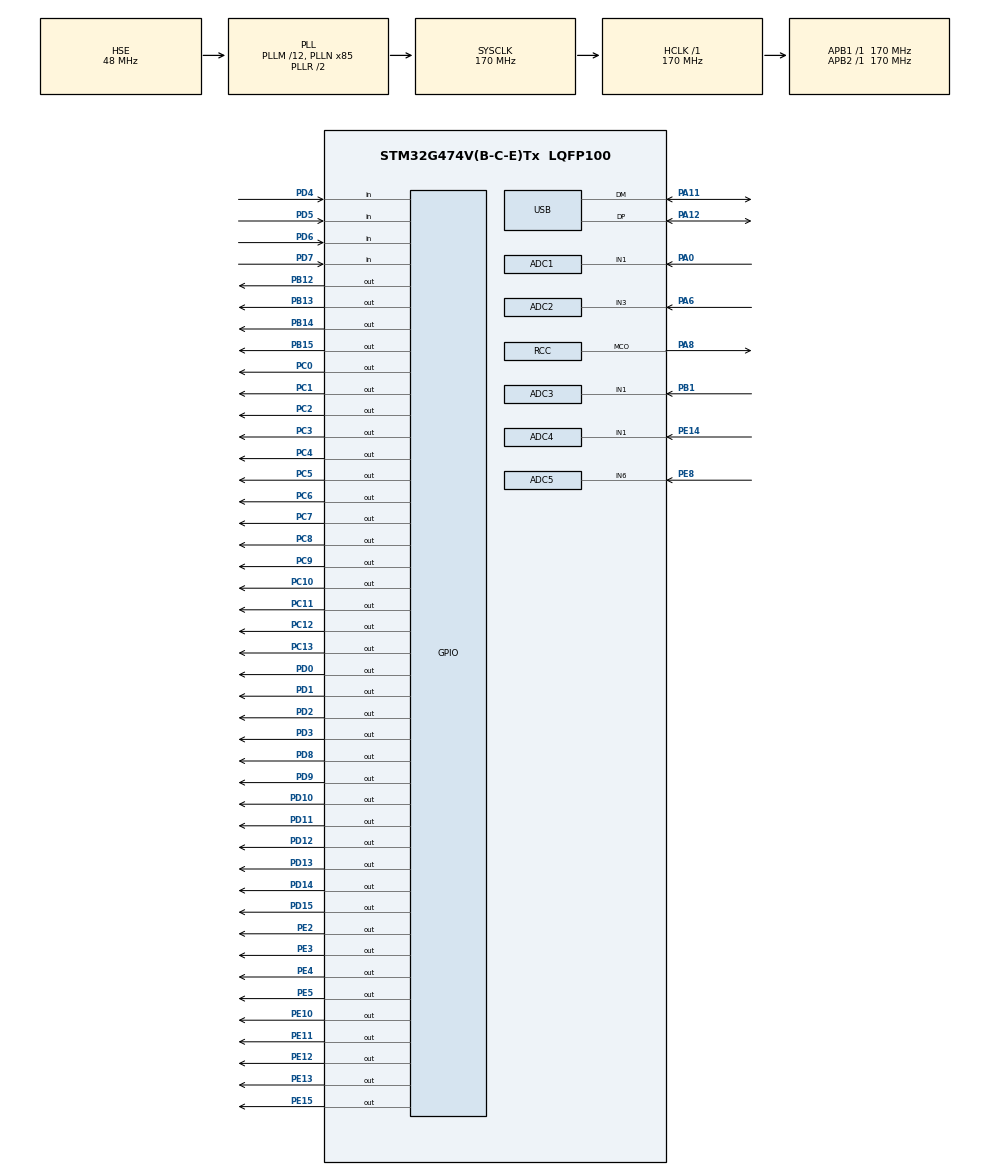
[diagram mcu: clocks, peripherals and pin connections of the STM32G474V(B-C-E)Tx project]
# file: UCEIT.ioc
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ADC1.Channel-1\#ChannelRegularConversion=ADC_CHANNEL_1
ADC1.DMAContinuousRequests=ENABLE
ADC1.ExternalTrigConv=ADC_EXTERNALTRIG_HRTIM_TRG1
ADC1.NbrOfConversionFlag=1
ADC1.OffsetNumber-1\#ChannelRegularConversion=ADC_OFFSET_NONE
ADC1.Rank-1\#ChannelRegularConversion=1
ADC1.SamplingTime-1\#ChannelRegularConversion=ADC_SAMPLETIME_2CYCLES_5
ADC1.master=1
ADC2.Channel-0\#ChannelRegularConversion=ADC_CHANNEL_3
ADC2.DMAContinuousRequests=ENABLE
ADC2.ExternalTrigConv=ADC_EXTERNALTRIG_HRTIM_TRG1
ADC2.ExternalTrigConvEdge=ADC_EXTERNALTRIGCONVEDGE_RISINGFALLING
ADC2.NbrOfConversionFlag=1
ADC2.OffsetNumber-0\#ChannelRegularConversion=ADC_OFFSET_NONE
ADC2.Rank-0\#ChannelRegularConversion=1
ADC2.SamplingTime-0\#ChannelRegularConversion=ADC_SAMPLETIME_2CYCLES_5
ADC3.Channel-0\#ChannelRegularConversion=ADC_CHANNEL_1
ADC3.DMAContinuousRequests=ENABLE
ADC3.ExternalTrigConv=ADC_EXTERNALTRIG_HRTIM_TRG1
ADC3.ExternalTrigConvEdge=ADC_EXTERNALTRIGCONVEDGE_RISINGFALLING
ADC3.NbrOfConversionFlag=1
ADC3.OffsetNumber-0\#ChannelRegularConversion=ADC_OFFSET_NONE
ADC3.Rank-0\#ChannelRegularConversion=1
ADC3.SamplingTime-0\#ChannelRegularConversion=ADC_SAMPLETIME_2CYCLES_5
ADC3.master=1
ADC4.Channel-0\#ChannelRegularConversion=ADC_CHANNEL_1
ADC4.DMAContinuousRequests=ENABLE
ADC4.ExternalTrigConv=ADC_EXTERNALTRIG_HRTIM_TRG1
ADC4.ExternalTrigConvEdge=ADC_EXTERNALTRIGCONVEDGE_RISINGFALLING
ADC4.NbrOfConversionFlag=1
ADC4.OffsetNumber-0\#ChannelRegularConversion=ADC_OFFSET_NONE
ADC4.Rank-0\#ChannelRegularConversion=1
ADC4.SamplingTime-0\#ChannelRegularConversion=ADC_SAMPLETIME_2CYCLES_5
ADC5.Channel-0\#ChannelRegularConversion=ADC_CHANNEL_6
ADC5.DMAContinuousRequests=ENABLE
ADC5.ExternalTrigConv=ADC_EXTERNALTRIG_HRTIM_TRG1
ADC5.ExternalTrigConvEdge=ADC_EXTERNALTRIGCONVEDGE_RISINGFALLING
ADC5.NbrOfConversionFlag=1
ADC5.OffsetNumber-0\#ChannelRegularConversion=ADC_OFFSET_NONE
ADC5.Rank-0\#ChannelRegularConversion=1
ADC5.SamplingTime-0\#ChannelRegularConversion=ADC_SAMPLETIME_2CYCLES_5
ARM.CMSIS.5.8.0.CMSISJjCORE=true
ARM.CMSIS.5.8.0.CMSISJjDSP=Source
Dma.ADC1.0.Direction=DMA_PERIPH_TO_MEMORY
Dma.ADC1.0.EventEnable=DISABLE
Dma.ADC1.0.Instance=DMA1_Channel1
Dma.ADC1.0.MemDataAlignment=DMA_MDATAALIGN_HALFWORD
Dma.ADC1.0.MemInc=DMA_MINC_ENABLE
Dma.ADC1.0.Mode=DMA_CIRCULAR
Dma.ADC1.0.PeriphDataAlignment=DMA_PDATAALIGN_HALFWORD
Dma.ADC1.0.PeriphInc=DMA_PINC_DISABLE
Dma.ADC1.0.Polarity=HAL_DMAMUX_REQ_GEN_RISING
Dma.ADC1.0.Priority=DMA_PRIORITY_LOW
Dma.ADC1.0.RequestNumber=1
Dma.ADC1.0.SignalID=NONE
Dma.ADC1.0.SyncEnable=DISABLE
Dma.ADC1.0.SyncPolarity=HAL_DMAMUX_SYNC_NO_EVENT
Dma.ADC1.0.SyncRequestNumber=1
Dma.ADC1.0.SyncSignalID=NONE
Dma.ADC2.1.Direction=DMA_PERIPH_TO_MEMORY
Dma.ADC2.1.EventEnable=DISABLE
Dma.ADC2.1.Instance=DMA1_Channel2
Dma.ADC2.1.MemDataAlignment=DMA_MDATAALIGN_HALFWORD
Dma.ADC2.1.MemInc=DMA_MINC_ENABLE
Dma.ADC2.1.Mode=DMA_CIRCULAR
Dma.ADC2.1.PeriphDataAlignment=DMA_PDATAALIGN_HALFWORD
Dma.ADC2.1.PeriphInc=DMA_PINC_DISABLE
Dma.ADC2.1.Polarity=HAL_DMAMUX_REQ_GEN_RISING
Dma.ADC2.1.Priority=DMA_PRIORITY_LOW
Dma.ADC2.1.RequestNumber=1
Dma.ADC2.1.SignalID=NONE
Dma.ADC2.1.SyncEnable=DISABLE
Dma.ADC2.1.SyncPolarity=HAL_DMAMUX_SYNC_NO_EVENT
Dma.ADC2.1.SyncRequestNumber=1
Dma.ADC2.1.SyncSignalID=NONE
Dma.ADC3.2.Direction=DMA_PERIPH_TO_MEMORY
Dma.ADC3.2.EventEnable=DISABLE
Dma.ADC3.2.Instance=DMA1_Channel3
Dma.ADC3.2.MemDataAlignment=DMA_MDATAALIGN_HALFWORD
Dma.ADC3.2.MemInc=DMA_MINC_ENABLE
Dma.ADC3.2.Mode=DMA_CIRCULAR
Dma.ADC3.2.PeriphDataAlignment=DMA_PDATAALIGN_HALFWORD
Dma.ADC3.2.PeriphInc=DMA_PINC_DISABLE
Dma.ADC3.2.Polarity=HAL_DMAMUX_REQ_GEN_RISING
Dma.ADC3.2.Priority=DMA_PRIORITY_LOW
Dma.ADC3.2.RequestNumber=1
Dma.ADC3.2.SignalID=NONE
Dma.ADC3.2.SyncEnable=DISABLE
Dma.ADC3.2.SyncPolarity=HAL_DMAMUX_SYNC_NO_EVENT
Dma.ADC3.2.SyncRequestNumber=1
Dma.ADC3.2.SyncSignalID=NONE
Dma.ADC4.3.Direction=DMA_PERIPH_TO_MEMORY
Dma.ADC4.3.EventEnable=DISABLE
Dma.ADC4.3.Instance=DMA1_Channel4
Dma.ADC4.3.MemDataAlignment=DMA_MDATAALIGN_HALFWORD
Dma.ADC4.3.MemInc=DMA_MINC_ENABLE
Dma.ADC4.3.Mode=DMA_CIRCULAR
Dma.ADC4.3.PeriphDataAlignment=DMA_PDATAALIGN_HALFWORD
Dma.ADC4.3.PeriphInc=DMA_PINC_DISABLE
Dma.ADC4.3.Polarity=HAL_DMAMUX_REQ_GEN_RISING
Dma.ADC4.3.Priority=DMA_PRIORITY_LOW
Dma.ADC4.3.RequestNumber=1
Dma.ADC4.3.SignalID=NONE
Dma.ADC4.3.SyncEnable=DISABLE
Dma.ADC4.3.SyncPolarity=HAL_DMAMUX_SYNC_NO_EVENT
Dma.ADC4.3.SyncRequestNumber=1
Dma.ADC4.3.SyncSignalID=NONE
Dma.ADC5.4.Direction=DMA_PERIPH_TO_MEMORY
Dma.ADC5.4.EventEnable=DISABLE
Dma.ADC5.4.Instance=DMA1_Channel5
Dma.ADC5.4.MemDataAlignment=DMA_MDATAALIGN_HALFWORD
Dma.ADC5.4.MemInc=DMA_MINC_ENABLE
Dma.ADC5.4.Mode=DMA_CIRCULAR
Dma.ADC5.4.PeriphDataAlignment=DMA_PDATAALIGN_HALFWORD
Dma.ADC5.4.PeriphInc=DMA_PINC_DISABLE
Dma.ADC5.4.Polarity=HAL_DMAMUX_REQ_GEN_RISING
Dma.ADC5.4.Priority=DMA_PRIORITY_LOW
Dma.ADC5.4.RequestNumber=1
Dma.ADC5.4.SignalID=NONE
Dma.ADC5.4.SyncEnable=DISABLE
Dma.ADC5.4.SyncPolarity=HAL_DMAMUX_SYNC_NO_EVENT
Dma.ADC5.4.SyncRequestNumber=1
Dma.ADC5.4.SyncSignalID=NONE
Dma.HRTIM1_A.5.Direction=DMA_MEMORY_TO_PERIPH
Dma.HRTIM1_A.5.EventEnable=DISABLE
Dma.HRTIM1_A.5.Instance=DMA2_Channel1
Dma.HRTIM1_A.5.MemDataAlignment=DMA_MDATAALIGN_WORD
Dma.HRTIM1_A.5.MemInc=DMA_MINC_ENABLE
Dma.HRTIM1_A.5.Mode=DMA_CIRCULAR
Dma.HRTIM1_A.5.PeriphDataAlignment=DMA_PDATAALIGN_WORD
Dma.HRTIM1_A.5.PeriphInc=DMA_PINC_DISABLE
Dma.HRTIM1_A.5.Polarity=HAL_DMAMUX_REQ_GEN_RISING
Dma.HRTIM1_A.5.Priority=DMA_PRIORITY_LOW
Dma.HRTIM1_A.5.RequestNumber=1
Dma.HRTIM1_A.5.SignalID=NONE
Dma.HRTIM1_A.5.SyncEnable=DISABLE
Dma.HRTIM1_A.5.SyncPolarity=HAL_DMAMUX_SYNC_NO_EVENT
Dma.HRTIM1_A.5.SyncRequestNumber=1
Dma.HRTIM1_A.5.SyncSignalID=NONE
Dma.Request0=ADC1
Dma.Request1=ADC2
Dma.Request2=ADC3
Dma.Request3=ADC4
Dma.Request4=ADC5
Dma.Request5=HRTIM1_A
HRTIM1.ADCTrigger1_Source1=HRTIM_ADCTRIGGEREVENT13_TIMERB_PERIOD
HRTIM1.ADCTrigger_Id1=HRTIM_ADCTRIGGER_1
HRTIM1.Configuration_TA=Simple
HRTIM1.Configuration_TB=Simple
HRTIM1.Event_EEV1=__NULL
HRTIM1.NumberADCTriggerSource1=1
HRTIM1.ORingUpdateSource_ADCTrigger1=HRTIM_ADCTRIGGERUPDATE_TIMER_B
HRTIM1.Periode_TA=0x0060
HRTIM1.Periode_TB=0xAF80
HRTIM1.PrescalerRatio_TA=HRTIM_PRESCALERRATIO_MUL32
HRTIM1.PrescalerRatio_TB=HRTIM_PRESCALERRATIO_MUL32
Mcu.Family=STM32G4
Mcu.Name=STM32G474V(B-C-E)Tx
Mcu.Package=LQFP100
NVIC.DMA1_Channel1_IRQn=true\:1\:0\:true\:false\:true\:false\:true\:true
NVIC.DMA1_Channel2_IRQn=true\:1\:0\:true\:false\:true\:false\:true\:true
NVIC.DMA1_Channel3_IRQn=true\:1\:0\:true\:false\:true\:false\:true\:true
NVIC.DMA1_Channel4_IRQn=true\:1\:0\:true\:false\:true\:false\:true\:true
NVIC.DMA1_Channel5_IRQn=true\:1\:0\:true\:false\:true\:false\:true\:true
NVIC.DMA2_Channel1_IRQn=true\:0\:0\:false\:false\:true\:false\:true\:true
NVIC.PriorityGroup=NVIC_PRIORITYGROUP_4
NVIC.TIM2_IRQn=true\:0\:0\:false\:false\:true\:true\:true\:true
NVIC.USB_LP_IRQn=true\:0\:0\:false\:false\:true\:false\:true\:true
PA0.Mode=IN1-Single-Ended
PA0.Signal=ADC1_IN1
PA11.Mode=Device
PA11.Signal=USB_DM
PA12.Mode=Device
PA12.Signal=USB_DP
PA13.Mode=Serial_Wire
PA13.Signal=SYS_JTMS-SWDIO
PA14.Mode=Serial_Wire
PA14.Signal=SYS_JTCK-SWCLK
PA6.Mode=IN3-Single-Ended
PA6.Signal=ADC2_IN3
PA8.GPIO_Speed=GPIO_SPEED_FREQ_VERY_HIGH
PA8.Mode=Clock-out
PA8.Signal=RCC_MCO
PB1.Mode=IN1-Single-Ended
PB1.Signal=ADC3_IN1
PB12.Signal=GPIO_Output
PB13.Signal=GPIO_Output
PB14.GPIO_PuPd=GPIO_NOPULL
PB14.GPIO_Speed=GPIO_SPEED_FREQ_VERY_HIGH
PB14.Signal=GPIO_Output
PB15.GPIO_PuPd=GPIO_NOPULL
PB15.GPIO_Speed=GPIO_SPEED_FREQ_VERY_HIGH
PB15.Signal=GPIO_Output
PC0.GPIO_Speed=GPIO_SPEED_FREQ_VERY_HIGH
PC0.Signal=GPIO_Output
PC1.GPIO_Speed=GPIO_SPEED_FREQ_VERY_HIGH
PC1.Signal=GPIO_Output
PC10.GPIO_Speed=GPIO_SPEED_FREQ_VERY_HIGH
PC10.Signal=GPIO_Output
PC11.GPIO_Speed=GPIO_SPEED_FREQ_VERY_HIGH
PC11.Signal=GPIO_Output
PC12.GPIO_Speed=GPIO_SPEED_FREQ_VERY_HIGH
PC12.Signal=GPIO_Output
PC13.GPIO_Speed=GPIO_SPEED_FREQ_LOW
PC13.Signal=GPIO_Output
PC2.GPIO_Speed=GPIO_SPEED_FREQ_VERY_HIGH
PC2.Signal=GPIO_Output
PC3.GPIO_Speed=GPIO_SPEED_FREQ_VERY_HIGH
PC3.Signal=GPIO_Output
PC4.GPIO_Speed=GPIO_SPEED_FREQ_VERY_HIGH
PC4.Signal=GPIO_Output
PC5.GPIO_Speed=GPIO_SPEED_FREQ_VERY_HIGH
PC5.Signal=GPIO_Output
PC6.GPIO_Speed=GPIO_SPEED_FREQ_VERY_HIGH
PC6.Signal=GPIO_Output
PC7.GPIO_Speed=GPIO_SPEED_FREQ_VERY_HIGH
PC7.Signal=GPIO_Output
PC8.GPIO_Speed=GPIO_SPEED_FREQ_VERY_HIGH
PC8.Signal=GPIO_Output
PC9.GPIO_Speed=GPIO_SPEED_FREQ_VERY_HIGH
PC9.Signal=GPIO_Output
PD0.GPIO_Speed=GPIO_SPEED_FREQ_LOW
PD0.PinState=GPIO_PIN_SET
PD0.Signal=GPIO_Output
PD1.PinState=GPIO_PIN_SET
PD1.Signal=GPIO_Output
PD10.Signal=GPIO_Output
PD11.Signal=GPIO_Output
PD12.Signal=GPIO_Output
PD13.Signal=GPIO_Output
PD14.Signal=GPIO_Output
PD15.Signal=GPIO_Output
PD2.PinState=GPIO_PIN_SET
PD2.Signal=GPIO_Output
PD3.PinState=GPIO_PIN_SET
PD3.Signal=GPIO_Output
PD4.Signal=GPIO_Input
PD5.Signal=GPIO_Input
PD6.Signal=GPIO_Input
PD7.Signal=GPIO_Input
PD8.Signal=GPIO_Output
PD9.Signal=GPIO_Output
PE10.Signal=GPIO_Output
PE11.Signal=GPIO_Output
PE12.Signal=GPIO_Output
PE13.Signal=GPIO_Output
PE14.Mode=IN1-Single-Ended
PE14.Signal=ADC4_IN1
PE15.Signal=GPIO_Output
PE2.Signal=GPIO_Output
PE3.Signal=GPIO_Output
PE4.Signal=GPIO_Output
PE5.Signal=GPIO_Output
PE8.Mode=IN6-Single-Ended
PE8.Signal=ADC5_IN6
PF0-OSC_IN.Mode=HSE-External-Oscillator
PF0-OSC_IN.Signal=RCC_OSC_IN
PF1-OSC_OUT.Mode=HSE-External-Oscillator
PF1-OSC_OUT.Signal=RCC_OSC_OUT
ProjectManager.HeapSize=0x400
ProjectManager.StackSize=0x800
ProjectManager.TargetToolchain=STM32CubeIDE
RCC.ADC12Freq_Value=170000000
RCC.ADC345Freq_Value=170000000
RCC.AHBFreq_Value=170000000
RCC.APB1Freq_Value=170000000
RCC.APB1TimFreq_Value=170000000
RCC.APB2Freq_Value=170000000
RCC.APB2TimFreq_Value=170000000
RCC.CK48CLockSelection=RCC_USBCLKSOURCE_HSI48
RCC.CortexFreq_Value=170000000
RCC.EXTERNAL_CLOCK_VALUE=12288000
RCC.HCLKFreq_Value=170000000
RCC.HSE_VALUE=48000000
RCC.HSI48_VALUE=48000000
RCC.HSI_VALUE=16000000
RCC.LSE_VALUE=32768
RCC.PLLM=RCC_PLLM_DIV12
RCC.PLLN=85
RCC.PLLP=RCC_PLLP_DIV7
RCC.PLLQ=RCC_PLLQ_DIV6
RCC.PLLSourceVirtual=RCC_PLLSOURCE_HSE
RCC.RCC_MCO1Source=RCC_MCO1SOURCE_PLLCLK
RCC.RCC_MCODiv=RCC_MCODIV_2
RCC.SYSCLKFreq_VALUE=170000000
RCC.SYSCLKSource=RCC_SYSCLKSOURCE_PLLCLK
RCC.USBFreq_Value=48000000
RCC.VCOOutputFreq_Value=340000000
TIM2.PeriodNoDither=72000
TIM2.Prescaler=1
USB_DEVICE.CLASS_NAME_FS=CDC
USB_DEVICE.VirtualMode=Cdc
USB_DEVICE.VirtualModeFS=Cdc_FS
VP_ARM.CMSIS_VS_CMSISJjCORE_5.5.0_5.8.0.Mode=CMSISJjCORE
VP_ARM.CMSIS_VS_CMSISJjDSP_1.9.0-dev_5.8.0.Mode=CMSISJjDSP
VP_CORDIC_VS_CORDIC.Mode=CORDIC_Activate
VP_HRTIM1_VS_hrtimTimerANoOutput.Mode=No_output_TA
VP_HRTIM1_VS_hrtimTimerBNoOutput.Mode=No_output_TB
VP_SYS_VS_DBSignals.Mode=DisableDeadBatterySignals
VP_TIM2_VS_ClockSourceINT.Mode=Internal
VP_USB_DEVICE_VS_USB_DEVICE_CDC_FS.Mode=CDC_FS
board=custom

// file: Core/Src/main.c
/* USER CODE BEGIN Header */
/**
  ******************************************************************************
  * @file           : main.c
  * @brief          : Embedded software for use in an EIT open source development
  * 				board. Production files can be found at:
  * 				https://data.mendeley.com/preview/6dz82jxzvh?a=f4632e7c-eceb-4229-b38e-013b2df32c65
  *
  * 				Workflow of the program is to read adc values into a double buffer
  * 				based on a timer interupt. These values are sent to a host PC for
  * 				processing. Multiplexing occurs after every succesfully sent buffer.
  * 				Current stimulation is done by communication with an external AD9707
  * 				DAC via parallel communicaiton.
  ******************************************************************************
  * @attention
  *
  * Copyright (c) 2024 STMicroelectronics.
  * All rights reserved.
  *
  * This software is licensed under terms that can be found in the LICENSE file
  * in the root directory of this software component.
  * If no LICENSE file comes with this software, it is provided AS-IS.
  *
  ******************************************************************************
  */
/* USER CODE END Header */
#include "main.h"
#include "adc.h"
#include "cordic.h"
#include "dma.h"
#include "hrtim.h"
#include "tim.h"
#include "usb_device.h"
#include "gpio.h"

/* USER CODE BEGIN Includes */
#include <stdbool.h>
#include <stdio.h>
#include <stdlib.h>
#include <string.h>
#include <math.h>
#include "usbd_cdc_if.h"
#include "arm_math.h"
/* USER CODE END Includes */

/* USER CODE BEGIN PD */
#define BUFFER_SIZE 32
//#define BUFFER_SIZE 1024
#define MEAS_SIZE 256
#define LUT_SIZE 100 //Size of the stimulation Look Up Table

#define TIMER2_PRESCALAR 1 //Prescalar for TIM2
#define TIMER2_FREQ 1e5 //Desired Frequency for TIM2

#define DAC_FREQ 1e4 //Desired Frequency of the Stimulation waveform
#define SAMPLING_FREQUENCY 103125
//1e5

#define MAIN_FREQ 2 //Update frequency of the Main program
#define VOLTAGE_FREQ 2
//#define VOLTAGE_FREQ 10

#define CLKFREQ 170e6 //SYSCKL Frequency
#define HRTIM_MUL 32 //HRTIM multiplier
/* USER CODE END PD */

void SystemClock_Config(void);
/* USER CODE BEGIN PFP */

void updateVoltage(uint16_t index);
void init_lut(void);
void updateCurrent(uint16_t electrodes);
void USB_Send(char* message);
void WriteBits(GPIO_TypeDef* GPIOx, uint16_t pinMask, uint8_t value);
uint16_t calcMag(uint16_t * array);
void checkStim(void);
void setGain(uint16_t adc, uint8_t gain);
void calcMagnitude(void);
void sendMagnitude(void);
void sendBuffers(void);

/* USER CODE END PFP */

/* USER CODE BEGIN 0 */

uint32_t sinewave[LUT_SIZE];
uint32_t sine_idx;

uint8_t current_mux = 0;
uint8_t voltage_mux = 0;

//buffers_t buffers;

volatile uint64_t gl_ticks = 0;
volatile bool is_main = 0;
volatile bool is_dac = 0;
volatile bool is_usb = 0;
volatile bool is_voltage_mux = 0;
volatile bool is_current_mux = 0;

//uint16_t adc1Buff[BUFFER_SIZE] = {0};
//uint16_t adc2Buff[BUFFER_SIZE] = {0};
//uint16_t adc3Buff[BUFFER_SIZE] = {0};
//uint16_t adc4Buff[BUFFER_SIZE] = {0};
//uint16_t adc5Buff[BUFFER_SIZE] = {0};
uint16_t magnitude[MEAS_SIZE] = {0};

uint16_t adcAllBuff[5 * BUFFER_SIZE] = {0};

uint16_t* adc1Buff = &adcAllBuff[0];
uint16_t* adc2Buff = &adcAllBuff[BUFFER_SIZE];
uint16_t* adc3Buff = &adcAllBuff[2 * BUFFER_SIZE];
uint16_t* adc4Buff = &adcAllBuff[3 * BUFFER_SIZE];
uint16_t* adc5Buff = &adcAllBuff[4 * BUFFER_SIZE];

/* USER CODE END 0 */

int main(void)
{

  /* MCU Configuration--------------------------------------------------------*/

  /* Reset of all peripherals, Initializes the Flash interface and the Systick. */
  HAL_Init();

  /* Configure the system clock */
  SystemClock_Config();

  /* Initialize all configured peripherals */
  MX_GPIO_Init();
  MX_DMA_Init();
  MX_USB_Device_Init();
  MX_ADC1_Init();
  MX_ADC2_Init();
  MX_ADC3_Init();
  MX_ADC4_Init();
  MX_ADC5_Init();
  MX_TIM2_Init();
  MX_HRTIM1_Init();
  MX_CORDIC_Init();
  /* USER CODE BEGIN 2 */

  //---------- ADC Calibration ----------
  if (HAL_ADCEx_Calibration_Start(&hadc1, ADC_SINGLE_ENDED) != HAL_OK)
  	  Error_Handler();
  if (HAL_ADCEx_Calibration_Start(&hadc2, ADC_SINGLE_ENDED) != HAL_OK)
  	  Error_Handler();
  if (HAL_ADCEx_Calibration_Start(&hadc3, ADC_SINGLE_ENDED) != HAL_OK)
  	  Error_Handler();
  if (HAL_ADCEx_Calibration_Start(&hadc4, ADC_SINGLE_ENDED) != HAL_OK)
  	  Error_Handler();
  if (HAL_ADCEx_Calibration_Start(&hadc5, ADC_SINGLE_ENDED) != HAL_OK)
  	  Error_Handler();

  //---------- ADC Start ----------
  HAL_ADC_Start_DMA(&hadc1, (uint32_t*)adc1Buff, BUFFER_SIZE);
  HAL_ADC_Start_DMA(&hadc2, (uint32_t*)adc2Buff, BUFFER_SIZE);
  HAL_ADC_Start_DMA(&hadc3, (uint32_t*)adc3Buff, BUFFER_SIZE);
  HAL_ADC_Start_DMA(&hadc4, (uint32_t*)adc4Buff, BUFFER_SIZE);
  HAL_ADC_Start_DMA(&hadc5, (uint32_t*)adc5Buff, BUFFER_SIZE);

  //---------- Timer Period Set ----------
  uint32_t period = (uint32_t)(CLKFREQ / (2*TIMER2_PRESCALAR * TIMER2_FREQ) - 1);
  TIM2->ARR = period;
  TIM2->PSC = TIMER2_PRESCALAR;

  uint32_t updateFreq = (LUT_SIZE*DAC_FREQ);
  HRTIM1->sTimerxRegs[HRTIM_TIMERINDEX_TIMER_A].PERxR = HRTIM_MUL*(CLKFREQ/updateFreq);

  HRTIM1->sTimerxRegs[HRTIM_TIMERINDEX_TIMER_B].PERxR = HRTIM_MUL*(CLKFREQ/SAMPLING_FREQUENCY);

  if (HAL_TIM_Base_Start_IT(&htim2) != HAL_OK)
  	  Error_Handler();

  if (HAL_HRTIM_SimpleBaseStart(&hhrtim1, HRTIM_TIMERINDEX_TIMER_B) != HAL_OK)
    	  Error_Handler();

  HAL_Delay(400);

  //---------- LUT Initialisation ----------
  init_lut();
  HAL_Delay(100);
  HAL_HRTIM_SimpleBaseStart_DMA(&hhrtim1, HRTIM_TIMERINDEX_TIMER_A, (uint32_t)&sinewave[0], (uint32_t)&GPIOC->ODR, LUT_SIZE);

  //---------- MUX Enable ----------
  updateCurrent(0);
  updateVoltage(0);
//  setGain(1,0b0011);
//  setGain(2,0b0011);
//  setGain(3,0b0011);
//  setGain(4,0b0011);
  HAL_GPIO_WritePin(GPIOE, GPIO_PIN_15, GPIO_PIN_SET);

  /* USER CODE END 2 */

  /* Infinite loop */
  /* USER CODE BEGIN WHILE */
  while (1)
  {

	if (is_main) { // Toggles a status LED
		HAL_GPIO_TogglePin(GPIOD, GPIO_PIN_2);
		is_main = 0;
	}
	if (is_voltage_mux) { //Updates Voltage MUX and triggers a MUX change
		HAL_GPIO_TogglePin(GPIOD, GPIO_PIN_1);
//		calcMagnitude();
		sendBuffers();
		HAL_GPIO_TogglePin(GPIOD, GPIO_PIN_1);

		voltage_mux++;
		if (voltage_mux > 3) {
			voltage_mux = 0;
			current_mux++;
			if (current_mux > 15) {
				  current_mux = 0;
//				  uint16_t marker = 0xAA00;
//				  CDC_Transmit_FS((uint8_t*)&marker, 2);

//				  sendMagnitude();

				}
		}
		updateVoltage(voltage_mux);
		updateCurrent(current_mux);
		checkStim();
		is_voltage_mux = 0;
	  }

    /* USER CODE END WHILE */
  }
}

void SystemClock_Config(void)
{
  RCC_OscInitTypeDef RCC_OscInitStruct = {0};
  RCC_ClkInitTypeDef RCC_ClkInitStruct = {0};

  /** Configure the main internal regulator output voltage
  */
  HAL_PWREx_ControlVoltageScaling(PWR_REGULATOR_VOLTAGE_SCALE1_BOOST);

  /** Initializes the RCC Oscillators according to the specified parameters
  * in the RCC_OscInitTypeDef structure.
  */
  RCC_OscInitStruct.OscillatorType = RCC_OSCILLATORTYPE_HSI48|RCC_OSCILLATORTYPE_HSE;
  RCC_OscInitStruct.HSEState = RCC_HSE_ON;
  RCC_OscInitStruct.HSI48State = RCC_HSI48_ON;
  RCC_OscInitStruct.PLL.PLLState = RCC_PLL_ON;
  RCC_OscInitStruct.PLL.PLLSource = RCC_PLLSOURCE_HSE;
  RCC_OscInitStruct.PLL.PLLM = RCC_PLLM_DIV12;
  RCC_OscInitStruct.PLL.PLLN = 85;
  RCC_OscInitStruct.PLL.PLLP = RCC_PLLP_DIV7;
  RCC_OscInitStruct.PLL.PLLQ = RCC_PLLQ_DIV6;
  RCC_OscInitStruct.PLL.PLLR = RCC_PLLR_DIV2;
  if (HAL_RCC_OscConfig(&RCC_OscInitStruct) != HAL_OK)
  {
    Error_Handler();
  }

  /** Initializes the CPU, AHB and APB buses clocks
  */
  RCC_ClkInitStruct.ClockType = RCC_CLOCKTYPE_HCLK|RCC_CLOCKTYPE_SYSCLK
                              |RCC_CLOCKTYPE_PCLK1|RCC_CLOCKTYPE_PCLK2;
  RCC_ClkInitStruct.SYSCLKSource = RCC_SYSCLKSOURCE_PLLCLK;
  RCC_ClkInitStruct.AHBCLKDivider = RCC_SYSCLK_DIV1;
  RCC_ClkInitStruct.APB1CLKDivider = RCC_HCLK_DIV1;
  RCC_ClkInitStruct.APB2CLKDivider = RCC_HCLK_DIV1;

  if (HAL_RCC_ClockConfig(&RCC_ClkInitStruct, FLASH_LATENCY_4) != HAL_OK)
  {
    Error_Handler();
  }
  HAL_RCC_MCOConfig(RCC_MCO1, RCC_MCO1SOURCE_PLLCLK, RCC_MCODIV_2);
}

/* USER CODE BEGIN 4 */

//---------- TIM2 Callback ----------
/*
 * Calls when the timer reaches its set period.
 * Currently used for basic timer scheduling of tasks
 * in the main function.
 *
 * Args:
 * 		htim: Handle type for the timer to define
 * 			which timer has triggered the callback.
 */
void HAL_TIM_PeriodElapsedCallback(TIM_HandleTypeDef* htim)
{
	if (htim->Instance == TIM2) {
		gl_ticks++;

		if (gl_ticks % (uint64_t)(TIMER2_FREQ / MAIN_FREQ) == 1) {
			is_main = 1;
		}
	    if (gl_ticks % (uint64_t)(TIMER2_FREQ / VOLTAGE_FREQ) == 1) {
	    	is_voltage_mux = 1;
	    }
	}

}

void sendMagnitude(void) {
	uint8_t* data = (uint8_t*)magnitude;
	CDC_Transmit_FS(data, 512);
}

void sendBuffers(void) {
	uint8_t idx_A1 = (current_mux) *16 + 4 * (1 - 1) + voltage_mux;
	uint8_t idx_A2 = (current_mux) *16 + 4 * (2 - 1) + voltage_mux;
	uint8_t idx_A3 = (current_mux) *16 + 4 * (3 - 1) + voltage_mux;
	uint8_t idx_A4 = (current_mux) *16 + 4 * (4 - 1) + voltage_mux;

	__disable_irq();

	adc1Buff[0] = idx_A1;
	adc2Buff[0] = idx_A2;
	adc3Buff[0] = idx_A3;
	adc4Buff[0] = idx_A4;
	adc5Buff[0] = 0;

	uint8_t* data = (uint8_t*)adcAllBuff;

	CDC_Transmit_FS(data, BUFFER_SIZE*10);

	__enable_irq();

//	uint8_t* data1 = (uint8_t*)adc1Buff;
//	data1[0] = idx_A1;
//
//
//	uint8_t* data2 = (uint8_t*)adc2Buff;
//	data2[0] = idx_A2;
//
//
//	uint8_t* data3 = (uint8_t*)adc3Buff;
//	data3[0] = idx_A3;
//
//
//	uint8_t* data4 = (uint8_t*)adc4Buff;
//	data4[0] = idx_A4;
//	__enable_irq();

//	CDC_Transmit_FS(data1, BUFFER_SIZE*2);
//	CDC_Transmit_FS(data2, BUFFER_SIZE*2);
//	CDC_Transmit_FS(data3, BUFFER_SIZE*2);
//	CDC_Transmit_FS(data4, BUFFER_SIZE*2);
}

void calcMagnitude(void) {
	int firstElec_A1 = 4 * (1 - 1) + voltage_mux + 1;
	int firstElec_A2 = 4 * (2 - 1) + voltage_mux + 1;
	int firstElec_A3 = 4 * (3 - 1) + voltage_mux + 1;
	int firstElec_A4 = 4 * (4 - 1) + voltage_mux + 1;

	int firstStim = current_mux + 1;

	uint8_t idx_A1 = (firstStim - 1) *16 + firstElec_A1 - 1;
	uint8_t idx_A2 = (firstStim - 1) *16 + firstElec_A2 - 1;
	uint8_t idx_A3 = (firstStim - 1) *16 + firstElec_A3 - 1;
	uint8_t idx_A4 = (firstStim - 1) *16 + firstElec_A4 - 1;

	magnitude[idx_A1] = calcMag(adc1Buff);
	magnitude[idx_A2] = calcMag(adc2Buff);
	magnitude[idx_A3] = calcMag(adc3Buff);
	magnitude[idx_A4] = calcMag(adc4Buff);

}

uint16_t calcMag(uint16_t * array) {
	q15_t max, min;
	uint32_t idxMax, idxMin;
	arm_max_q15((q15_t*)array, BUFFER_SIZE, &max, &idxMax);
	arm_min_q15((q15_t*)array, BUFFER_SIZE, &min, &idxMin);
	return max-min;
}

//---------- Voltage MUX ----------
/*
 * Sets the voltage multiplexers to one of four possible
 * combinations. This gives 16 different adc readings each
 * between 2 electrodes.
 *
 * Args:
 * 		index: The configuration that is being set, only four
 * 			combinations exist to get all readings.
 */
void updateVoltage(uint16_t index) {
	uint16_t mask = 0xC000; //1100 0000 0000 0000
	WriteBits(GPIOB, mask, index);
}

//---------- DAC write ----------
/*
 * Writes a 14 bit binary value to the parallel interface
 * on the external DAC. This is used to generate a sinewave.
 *
 * Args:
 * 		value: The number that is being written
 * 			to the DAC
 */
void write_dac(uint16_t value){
	if (value >= 16383) {
		value = 16383;
	}
	GPIOC->ODR = value;
}

//---------- LUT setup ----------
/*
 * Sets up a look up table of a sinewave with a DC offset
 * and a max 14 bit amplitude. THe frequency is adjusted according
 * to the update rate of the DAC.
 *
 */
void init_lut(void) {
	uint32_t amp = 819;
	uint32_t max = 16383;

	for (int i = 0; i < LUT_SIZE; i++) {
		float sine = sinf(i * (2.0 * M_PI / LUT_SIZE));
		sinewave[i] = (uint16_t)(amp * sine + max * 0.5);
//		sinewave[i] = (uint16_t)(max * 0.5 * ((amp / max) * sine + 1.0));
	}
}

//---------- USB send string ----------
/*
 * Sends a string to the USB com port on a host PC.
 *
 * Args:
 * 		message: the string that is being sent
 */
void USB_Send(char* message) {
	CDC_Transmit_FS((uint8_t*)message, strlen(message));
}

//---------- Write Port ----------
/*
 * Helper function for setting a multiplexer
 * value on a port without changing other states.
 *
 * Args:
 * 		GPIOx: Port that is being updated eg GPIOE
 * 		pinMask: The binary value of the pins that are
 * 			to be changed.
 * 		value: The binary number that is being written
 * 			to the pins defined in pinMask.
 */
void WriteBits(GPIO_TypeDef* GPIOx, uint16_t pinMask, uint8_t value) {
    // Clear the bits at the positions of pinMask
    GPIOx->ODR &= ~pinMask;

    // Set the new value at the positions of pinMask
    GPIOx->ODR |= (value & 0x0F) << __builtin_ctz(pinMask);
}

void setGain(uint16_t adc, uint8_t gain){
	if (adc == 1) {
		WriteBits(GPIOD, 0b0000001100000000, gain); //0000 0011 0000 0000
	}
	if (adc == 2) {
		WriteBits(GPIOD, 0b0000110000000000, gain); //0000 1100 0000 0000
	}
	if (adc == 3) {
		WriteBits(GPIOD, 0b0011000000000000, gain); //0011 0000 0000 0000
	}
	if (adc == 4) {
		WriteBits(GPIOD, 0b1100000000000000, gain); //1100 0000 0000 0000
	}
}

void checkStim(void) {
	for (size_t A = 1; A<5; A++) {
		int firstElec = 4 * (A - 1) + voltage_mux + 1;
		int secondElec = (firstElec < 16) ? (firstElec + 1) : 1;

		int firstStim = current_mux + 1;
		int secondStim = (firstStim < 16) ? (firstStim + 1) : 1;
		if (firstElec != firstStim && firstElec != secondStim && secondElec != firstStim) {
			setGain(A,0b0011);
		} else {
			setGain(A,0b0000);
		}
	}

}

//---------- Current Multiplexing ----------
/*
 * Sets the multiplexers for the positive and
 * negative current stimulation. A value of 0-15 is
 * passed to it defining what electrodes are written to.
 *
 * Args:
 * 		electrodes: The configuration that is being set.
 */
void updateCurrent(uint16_t electrodes) {
	uint16_t maskP = 0x003C; //0000 0000 0011 1100
	uint16_t maskN = 0x3C00; //0011 1100 0000 0000
	uint8_t pinsP = (uint8_t)electrodes; //1,2
	uint8_t pinsN = pinsP < 15 ? pinsP + 1 : 0;
	WriteBits(GPIOE, maskP, pinsP);
	WriteBits(GPIOE, maskN, pinsN);
}

/* USER CODE END 4 */

void Error_Handler(void)
{
  __disable_irq();
  while (1)
  {
  }
}
